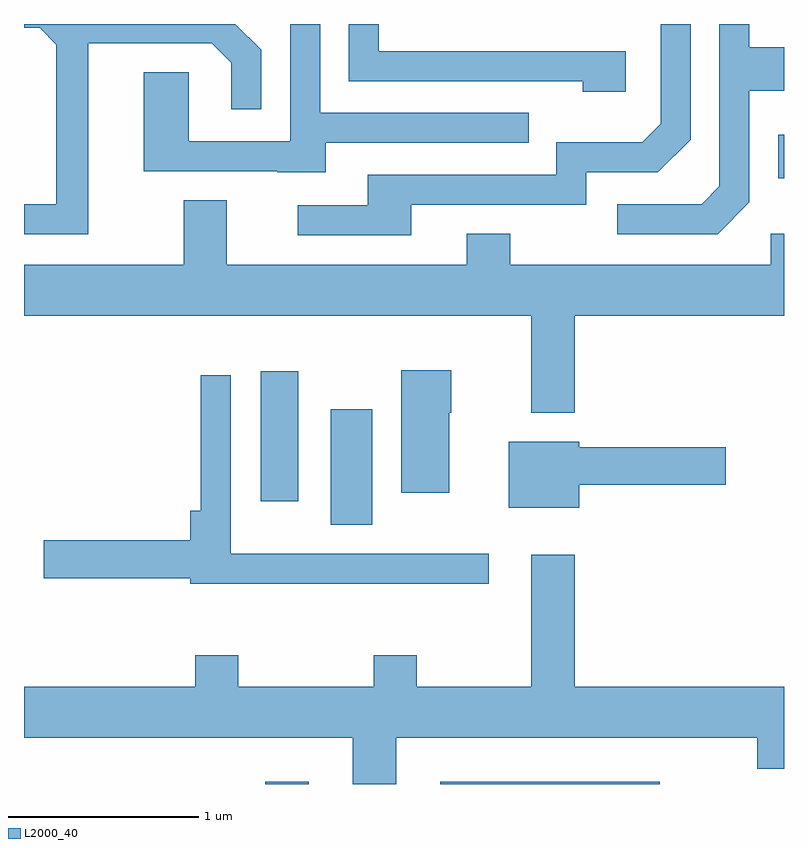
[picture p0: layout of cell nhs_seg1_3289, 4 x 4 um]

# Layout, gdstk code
import gdstk
lib = gdstk.Library(unit=1e-6, precision=1e-09)
def R(c, l, rs):  # rectangles x0, y0, x1, y1
    for r in rs: c.add(gdstk.rectangle(r[:2], r[2:], *l))
def P(c, l, *ps):  # polygons
    for p in ps: c.add(gdstk.Polygon(p, *l))
L2000_40 = (2000, 40)

nhs_seg1_3289 = lib.new_cell('nhs_seg1_3289')
R(nhs_seg1_3289, L2000_40, [(284.881,963.712,285.109,963.724), (285.801,963.712,286.958,963.724), (285.226,965.076,285.444,965.684), (284.856,965.201,285.054,965.884), (287.581,966.901,287.611,967.129)])
P(nhs_seg1_3289, L2000_40, [(287.429,966.774),(287.429,967.361),(287.611,967.361),(287.611,967.589),(287.429,967.589),(287.429,967.712),(287.271,967.712),(287.271,966.857),(287.179,966.764),(286.733,966.764),(286.733,966.606),(287.262,966.606)],
  [(285.199,967.086),(286.268,967.086),(286.268,967.244),(285.169,967.244),(285.169,967.712),(285.011,967.712),(285.011,967.094),(284.479,967.094),(284.479,967.459),(284.241,967.459),(284.241,966.936),(284.945,966.936),(284.945,966.931),(285.199,966.931)],
  [(285.649,966.761),(286.569,966.761),(286.569,966.931),(286.947,966.931),(287.119,967.104),(287.119,967.712),(286.961,967.712),(286.961,967.187),(286.864,967.089),(286.411,967.089),(286.411,966.919),(285.421,966.919),(285.421,966.759),(285.053,966.759),(285.053,966.601),(285.649,966.601)],
  [(286.779,967.569),(285.479,967.569),(285.479,967.712),(285.321,967.712),(285.321,967.411),(286.551,967.411),(286.551,967.356),(286.779,967.356)],
  [(283.949,967.611),(284.599,967.611),(284.701,967.509),(284.701,967.263),(284.859,967.263),(284.859,967.577),(284.724,967.712),(283.611,967.712),(283.611,967.691),(283.694,967.691),(283.781,967.604),(283.781,966.764),(283.611,966.764),(283.611,966.606),(283.949,966.606)],
  [(286.169,966.609),(285.941,966.609),(285.941,966.444),(284.679,966.444),(284.679,966.784),(284.451,966.784),(284.451,966.444),(283.611,966.444),(283.611,966.176),(286.281,966.176),(286.281,965.666),(286.509,965.666),(286.509,966.176),(287.611,966.176),(287.611,966.609),(287.541,966.609),(287.541,966.444),(286.169,966.444)],
  [(285.849,965.665),(285.859,965.665),(285.859,965.889),(285.596,965.889),(285.596,965.246),(285.849,965.246)],
  [(286.058,964.924),(284.699,964.924),(284.699,965.863),(284.541,965.863),(284.541,965.149),(284.486,965.149),(284.486,964.994),(283.716,964.994),(283.716,964.796),(284.486,964.796),(284.486,964.766),(286.058,964.766)],
  [(286.534,965.286),(287.304,965.286),(287.304,965.484),(286.534,965.484),(286.534,965.514),(286.161,965.514),(286.161,965.166),(286.534,965.166)],
  [(285.569,963.956),(287.471,963.956),(287.471,963.791),(287.611,963.791),(287.611,964.224),(286.509,964.224),(286.509,964.919),(286.281,964.919),(286.281,964.224),(285.679,964.224),(285.679,964.389),(285.451,964.389),(285.451,964.224),(284.739,964.224),(284.739,964.389),(284.511,964.389),(284.511,964.224),(283.611,964.224),(283.611,963.956),(285.341,963.956),(285.341,963.712),(285.569,963.712)])

lib.write_gds('nhs_seg1_3289.gds')
